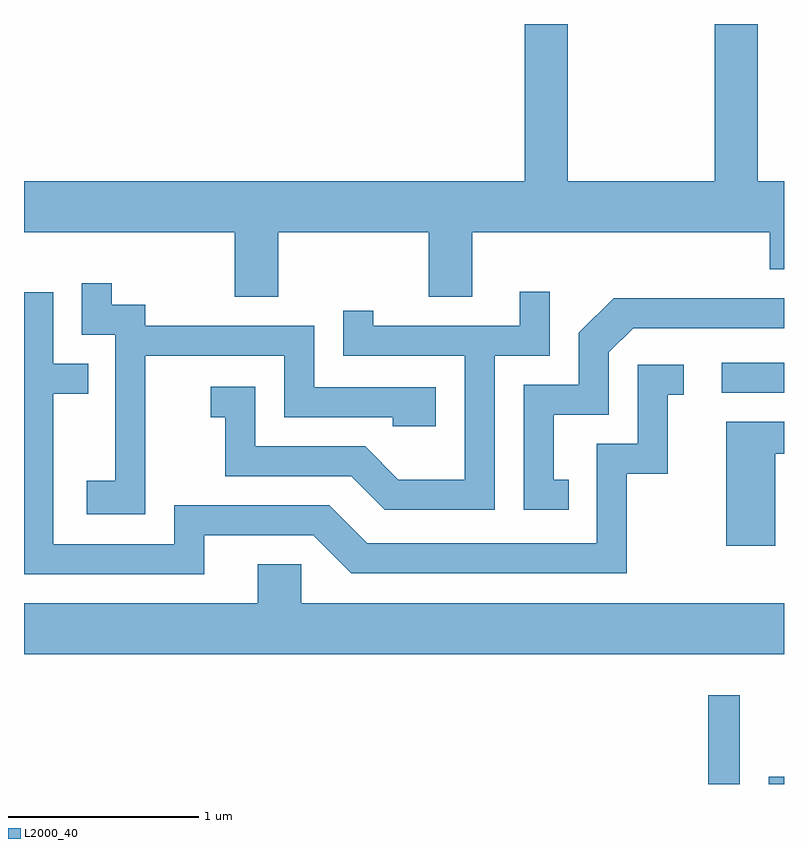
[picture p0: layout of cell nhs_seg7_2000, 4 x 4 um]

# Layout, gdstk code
import gdstk
lib = gdstk.Library(unit=1e-6, precision=1e-09)
def R(c, l, rs):  # rectangles x0, y0, x1, y1
    for r in rs: c.add(gdstk.rectangle(r[:2], r[2:], *l))
def P(c, l, *ps):  # polygons
    for p in ps: c.add(gdstk.Polygon(p, *l))
L2000_40 = (2000, 40)

nhs_seg7_2000 = lib.new_cell('nhs_seg7_2000')
R(nhs_seg7_2000, L2000_40, [(249.211,1760.252,249.379,1760.718), (249.531,1760.252,249.611,1760.289), (249.283,1762.311,249.611,1762.469)])
P(nhs_seg7_2000, L2000_40, [(246.949,1763.156),(247.741,1763.156),(247.741,1762.816),(247.969,1762.816),(247.969,1763.156),(249.536,1763.156),(249.536,1762.961),(249.611,1762.961),(249.611,1763.424),(249.474,1763.424),(249.474,1764.252),(249.246,1764.252),(249.246,1763.424),(248.474,1763.424),(248.474,1764.252),(248.246,1764.252),(248.246,1763.424),(245.611,1763.424),(245.611,1763.156),(246.721,1763.156),(246.721,1762.816),(246.949,1762.816)],
  [(246.249,1762.506),(246.981,1762.506),(246.981,1762.181),(247.551,1762.181),(247.551,1762.136),(247.779,1762.136),(247.779,1762.339),(247.139,1762.339),(247.139,1762.664),(246.249,1762.664),(246.249,1762.774),(246.074,1762.774),(246.074,1762.888),(245.916,1762.888),(245.916,1762.616),(246.091,1762.616),(246.091,1761.849),(245.941,1761.849),(245.941,1761.671),(246.249,1761.671)],
  [(248.089,1762.506),(248.379,1762.506),(248.379,1762.843),(248.221,1762.843),(248.221,1762.664),(247.449,1762.664),(247.449,1762.743),(247.291,1762.743),(247.291,1762.506),(247.931,1762.506),(247.931,1761.854),(247.582,1761.854),(247.407,1762.029),(246.829,1762.029),(246.829,1762.344),(246.593,1762.344),(246.593,1762.181),(246.671,1762.181),(246.671,1761.871),(247.334,1761.871),(247.509,1761.696),(248.089,1761.696)],
  [(246.559,1761.561),(247.134,1761.561),(247.334,1761.361),(248.784,1761.361),(248.784,1761.886),(248.999,1761.886),(248.999,1762.301),(249.083,1762.301),(249.083,1762.459),(248.841,1762.459),(248.841,1762.044),(248.626,1762.044),(248.626,1761.519),(247.417,1761.519),(247.217,1761.719),(246.401,1761.719),(246.401,1761.514),(245.764,1761.514),(245.764,1762.306),(245.948,1762.306),(245.948,1762.464),(245.764,1762.464),(245.764,1762.839),(245.611,1762.839),(245.611,1761.356),(246.559,1761.356)],
  [(248.478,1761.854),(248.399,1761.854),(248.399,1762.196),(248.689,1762.196),(248.689,1762.524),(248.817,1762.651),(249.611,1762.651),(249.611,1762.809),(248.714,1762.809),(248.531,1762.627),(248.531,1762.354),(248.241,1762.354),(248.241,1761.696),(248.478,1761.696)],
  [(249.564,1761.991),(249.611,1761.991),(249.611,1762.159),(249.306,1762.159),(249.306,1761.506),(249.564,1761.506)],
  [(249.611,1761.204),(247.069,1761.204),(247.069,1761.409),(246.841,1761.409),(246.841,1761.204),(245.611,1761.204),(245.611,1760.936),(249.611,1760.936)])

lib.write_gds('nhs_seg7_2000.gds')
